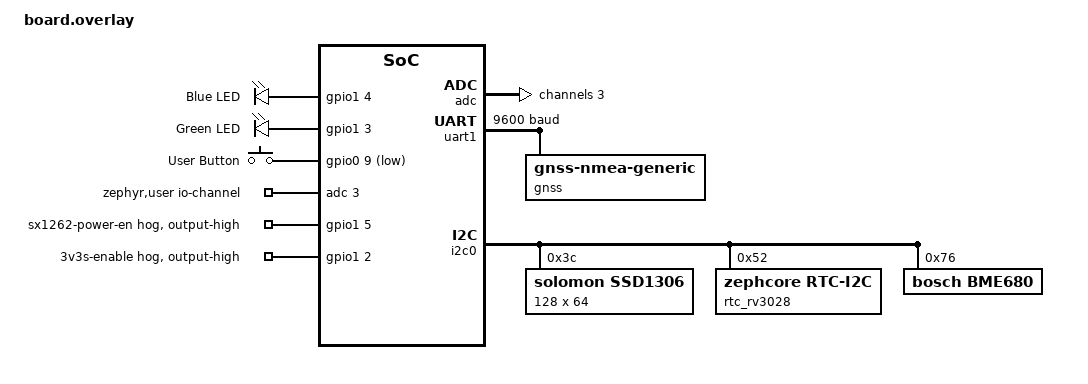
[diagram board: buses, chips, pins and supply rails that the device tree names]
/*
  * RAK4631 overlay for SoftDevice + UF2 bootloader.
  * App at 0x26000, storage at 0xD4000, bootloader at 0xF4000.
  * Uses SoftDevice s140 v6.1.1 (ends at 0x26000).
  * Console: USB CDC ACM (upstream's board_cdc_acm_uart).
  * Battery: AIN3 = P0.05, voltage divider per RAK4631 schematic.
  *
  * QSPI Flash: Optional external flash on WisBlock Base boards.
  * Supports: P25Q16H, MX25R1635F, W25Q16, GD25Q16, IS25LP080, ZD25WQ16
  * If no QSPI flash present, falls back to internal flash only.
  *
  * GPS: RAK1910 (u-blox MAX-7Q) on UART1 at 9600 baud (Slot A)
  * Sensors: Auto-detected on I2C0 - supports:
  *   - RAK1901 (SHTC3) at 0x70
  *   - RAK1902 (LPS22HB) at 0x5C
  *   - RAK1906 (BME680) at 0x76
  *
  * Optional SSD1306 128x64 @ 0x3C on I2C0 (P0.13/P0.14, no reset GPIO).
  * If the panel is absent, display init may fail
  * at runtime; UI continues without OLED.
  */

#include <zephyr/dt-bindings/adc/nrf-saadc.h>
#include <zephyr/dt-bindings/input/input-event-codes.h>

/delete-node/ &boot_partition;
/delete-node/ &slot0_partition;
/delete-node/ &slot1_partition;
/delete-node/ &storage_partition;

/ {
	aliases {
		/* leds: green=heartbeat, blue=unread + LoRa TX; lora-tx-led=blue */
		led0 = &green_led;
		led1 = &blue_led;
		lora-tx-led = &blue_led;
		sw0 = &user_button;
	};
	chosen {
		zephyr,code-partition = &code_partition;
		zephyr,display = &ssd1306;
	};

	/* Both LEDs are active-high.  Upstream's board file stopped declaring
	 * them at Zephyr 4085ca50ab6 (it now describes the bare core module and
	 * leaves LEDs to base-board shields), so they live here. */
	leds {
		compatible = "gpio-leds";

		blue_led: led_2 {
			gpios = <&gpio1 4 GPIO_ACTIVE_HIGH>;
			label = "Blue LED";
		};

		green_led: led_1 {
			gpios = <&gpio1 3 GPIO_ACTIVE_HIGH>;
			label = "Green LED";
		};
	};

	/* User button: P0.09 (NFC1). P0.00/P0.01 are 32k crystal — do not use for GPIO. */
	buttons: buttons {
		compatible = "gpio-keys";

		user_button: button_0 {
			gpios = <&gpio0 9 (GPIO_PULL_UP | GPIO_ACTIVE_LOW)>;
			zephyr,code = <INPUT_KEY_0>;
			label = "User Button";
		};
	};

	/* longpress: short=KEY_A (multitap), long=KEY_ENTER */
	user_btn_longpress {
		compatible = "zephyr,input-longpress";
		input = <&buttons>;
		input-codes = <INPUT_KEY_0>;
		short-codes = <INPUT_KEY_A>;
		long-codes = <INPUT_KEY_ENTER>;
		long-delay-ms = <1000>;
	};

	page_btn_multitap {
		compatible = "zephcore,input-multi-tap";
		input-codes = <INPUT_KEY_A>;
		tap-codes = <INPUT_KEY_1 INPUT_KEY_LEFT>;
		tap-delay-ms = <400>;
	};
};

/* Battery ADC - AIN3 on P0.05 with voltage divider */
/ {
	zephyr,user {
		io-channels = <&adc 3>;
		vbat-mv-multiplier = <6161>;  /* matches RAK4631 divider + SAADC ref */
	};
};

&adc {
	#address-cells = <1>;
	#size-cells = <0>;
	channel@3 {
		reg = <3>;
		zephyr,gain = "ADC_GAIN_1_6";
		zephyr,reference = "ADC_REF_INTERNAL";
		zephyr,acquisition-time = <ADC_ACQ_TIME(ADC_ACQ_TIME_MICROSECONDS, 10)>;
		zephyr,input-positive = <NRF_SAADC_AIN3>;
		zephyr,resolution = <12>;
	};
};

/* Since Zephyr 4085ca50ab6 upstream describes the bare core module with every
 * WisBlock peripheral enabled for shields to claim.  We use none of the PWM
 * channels or the 802.15.4 radio; turn them back off so the build carries the
 * same devices it did before that rework. */
&pwm0 {
	status = "disabled";
};

&pwm1 {
	status = "disabled";
};

&pwm2 {
	status = "disabled";
};

&ieee802154 {
	status = "disabled";
};

&lora {
	dio1-gpios = <&gpio1 15 (GPIO_PULL_DOWN | GPIO_ACTIVE_HIGH)>;
	rx-boosted;

	/* Upstream DTS labels P1.05 as rx-enable-gpios (per-direction
	 * antenna control), but on RAK4631 this pin is the SX1262 module
	 * power-enable (HIGH = on; see MeshCore variants/rak4631). The
	 * driver toggles per-direction GPIOs each TX/RX, which would
	 * pulse this pin LOW during RX. Stop the driver from touching it
	 * by deleting the property; the gpio-hog below pins it HIGH. */
	/delete-property/ rx-enable-gpios;
};

&gpio1 {
	sx1262_power_en {
		gpio-hog;
		gpios = <5 GPIO_ACTIVE_HIGH>;
		output-high;
		line-name = "sx1262-power-en";
	};

	/* 3V3_S rail enable — WB_IO2 / P1.02, HIGH = on. This is the switched
	 * 3.3V bus on every WisBlock base board: it feeds the GPS slot, the
	 * sensor slot and the OLED. Without this the pin sits at its reset
	 * default (input/float) and the GPS module is simply never powered.
	 *
	 * Hogged rather than exposed as `chosen zephcore,gps-power`: the rail is
	 * not GPS-private, so duty-cycling it for the GPS would also drop the
	 * I2C sensors and the display.
	 *
	 * Note this pin is often described as "GPS reset" (it lands on the
	 * RAK1910/RAK12500 RESET_N in Slot A). Do not drive it as a reset —
	 * u-blox specify RESET_N as a reset only, not an enable (the SiP draws
	 * significant current while held in reset). See MeshCore PR #3051. */
	v3v3s_en {
		gpio-hog;
		gpios = <2 GPIO_ACTIVE_HIGH>;
		output-high;
		line-name = "3v3s-enable";
	};
};

/*
  * GPS on UART1 - RAK1910 (u-blox MAX-7Q) at 9600 baud, Slot A.
  *
  * The WisBlock GPS slot is wired to the core module's Serial1 = P0.15 (MCU RX
  * <- GPS TX) / P0.16 (MCU TX -> GPS RX), which is Zephyr's uart1 on this board
  * (uart0 is P0.19/P0.20 = Serial2, which the GPS slot does not reach). Matches
  * MeshCore variants/rak4631 (PIN_SERIAL1_RX 15 / _TX 16) and ZephCore's sibling
  * RAK-family boards gat562_30s and rak3401_1watt. uart1 is also nrf-uarte
  * upstream, whereas uart0 is the legacy nrf-uart.
  */
&uart1 {
	status = "okay";
	current-speed = <9600>;
	gnss: gnss-nmea-generic {
		compatible = "gnss-nmea-generic";
	};
};

/* uart0 (P0.19/P0.20) is unused — console is USB CDC ACM and the GPS is on
  * uart1. Upstream leaves it enabled at 115200; turn it off so it does not
  * hold pins or a UARTE instance. */
&uart0 {
	status = "disabled";
};

/* I2C0: optional SSD1306 + sensors */
&i2c0 {
	status = "okay";

	ssd1306: ssd1306@3c {
		compatible = "solomon,ssd1306";
		reg = <0x3c>;
		width = <128>;
		height = <64>;
		segment-offset = <0>;
		page-offset = <0>;
		display-offset = <0>;
		multiplex-ratio = <63>;
		segment-remap;
		com-invdir;
		inversion-on;
		prechargep = <0x22>;
	};

	#include "../../common/sensors-i2c.dtsi"

	/*
	 * A WisBlock slot can carry a RAK12002 (RV3028 at 0x52). Only that
	 * candidate, not all of rtc-i2c.dtsi: its DS3231 at 0x68 shares the
	 * address of WisBlock IMUs.
	 */
	rtc_rv3028: rtc-rv3028@52 {
		compatible = "zephcore,rtc-i2c";
		reg = <0x52>;
		time-reg = <0x00>;
		date-index = <4>;
		status-reg = <0x0e>;   /* status */
		status-mask = <0x01>;  /* PORF — power-on reset */
		twelve-hour-bit = [10 02 01];  /* Control 2 12_24; RESET reads 0, p. 24 */
		/* RV-3028-C7 Application Manual Rev. 1.4, 3.2, p. 12 */
		zero-mask = [80 80 c0 f8 c0 e0 00];
		/* The RAK12002's backup is a supercapacitor. As the RV-3028-C7
		 * manual's rechargeable-backup circuit (7.3): direct switchover
		 * with trickle charging (0x37 TCE, BSM), TCR at its 3 kOhm delivery
		 * default, FEDE set as 3.15.6 says it always should be; CLKOUT off
		 * (0x35 CLKOE), as it is unused. 4.2.2 cautions
		 * that DSM can switch needlessly when VDD and VBACKUP are close; 7.3
		 * prescribes it for a capacitor anyway, and level switching would
		 * leave the charge below 2.0 V unused. Any other RV3028 module at
		 * 0x52 gets the same settings, trickle charging included, kept in
		 * its EEPROM. */
		rv3028-eeprom-config = [35 80 00  37 3f 34];
	};
};

/* RAK4631 has BME680, not BME280 — override the common DTSI default */
/delete-node/ &bme280;
&i2c0 {
	bme680: bme680@76 {
		compatible = "bosch,bme680";
		reg = <0x76>;
	};
};

/*
  * QSPI Flash — disabled.
  * RAK19003 Mini Base Board has no QSPI flash. The upstream DTS enables &qspi,
  * which hangs at boot if no chip is present. Disable it explicitly.
  * For base boards with QSPI (RAK19007, RAK5005-O), create a separate variant.
  */
&qspi {
	status = "disabled";
};

/* SoftDevice v6 flash layout */
#include "../../common/nrf52_partitions_sdv6.dtsi"
#include "../../common/nrf52_wakeup.dtsi"
